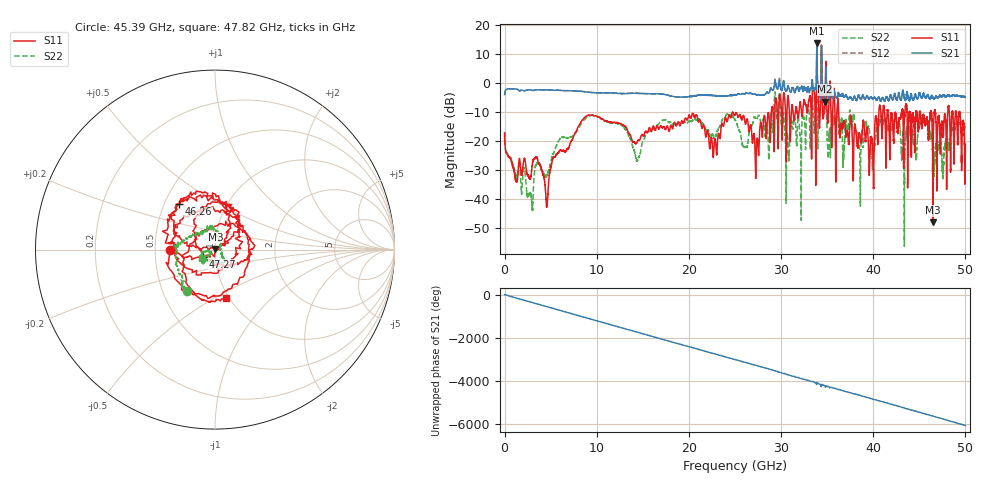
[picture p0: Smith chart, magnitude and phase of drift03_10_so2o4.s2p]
!Created with skrf (http://scikit-rf.org).
# Hz S RI R 50.0
!freq ReS11 ImS11 ReS21 ImS21 ReS12 ImS12 ReS22 ImS22
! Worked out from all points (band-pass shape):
!   10001 points, 300 kHz to 50 GHz, reference 50 ohm
!   highest |S21| = 13.76 dB at 33.88 GHz (marker M1); lowest = -6.4 dB at 34.8 GHz (marker M2)
!   |S21| within 3 dB of the highest: 33.86943 GHz to 33.88975 GHz (20.32 MHz wide, 0.06 % of centre); 34.37636 GHz to 34.39167 GHz (15.3 MHz wide, 0.0445 % of centre)
!   lowest |S11| = -48.1 dB at 46.46 GHz (marker M3), VSWR 1.01, Z = 50.2 + j0.312 ohm
!   |S11| at or under -10 dB: start of sweep to 28.94 GHz; 36.26 GHz to 40.61 GHz (4.351 GHz wide, 11.3 % of centre); 46.74 GHz to 48.09 GHz (1.35 GHz wide, 2.85 % of centre) (the widest 3 of 54)
!   |S22| runs from -56.3 to 10.2 dB; largest |S21 - S12| = 0.81
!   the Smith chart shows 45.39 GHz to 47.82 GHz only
!   S11 on the Smith chart (normalised r, x): 45.39 GHz: 0.60, -0.01; 46.26 GHz: 0.59, +0.34; 47.27 GHz: 0.87, -0.07; 47.82 GHz: 0.97, -0.57
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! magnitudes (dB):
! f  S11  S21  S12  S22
! 300 kHz  -17.4  -4.0  -4.0  -16.8
! 2.85 GHz  -32.3  -2.4  -2.4  -38.2
! 4.585 GHz  -41.9  -2.3  -2.3  -31.9
! 8.335 GHz  -13.1  -2.8  -2.8  -13.9
! 14.43 GHz  -20.0  -3.5  -3.6  -26.5
! 16.67 GHz  -15.5  -3.7  -3.7  -14.3
! 22.82 GHz  -19.4  -4.3  -4.3  -19.0
! 25 GHz  -11.0  -4.0  -4.0  -12.6
! 27.39 GHz  -19.3  -4.1  -4.1  -12.3
! 29.6 GHz  -10.4  -2.1  -2.1  -11.8
! 30.7 GHz  -5.8  -1.5  -1.6  -17.3
! 33.34 GHz  -13.4  -0.5  -0.7  -7.4
! 33.88 GHz  14.7  13.8  13.4  10.2
! 34.8 GHz  -2.2  -6.4  -4.9  -8.8
! 39.81 GHz  -18.8  -5.0  -4.9  -23.7
! 41.67 GHz  -12.4  -6.0  -6.0  -15.3
! 45.39 GHz  -12.1  -4.2  -4.2  -11.2
! 46.26 GHz  -9.8  -4.9  -4.9  -18.5
! 46.46 GHz  -48.1  -4.9  -4.9  -19.6
! 47.27 GHz  -22.3  -4.4  -4.4  -19.9
! 47.82 GHz  -11.2  -4.8  -4.7  -21.2
! 50 GHz  -21.3  -4.9  -4.9  -15.1
